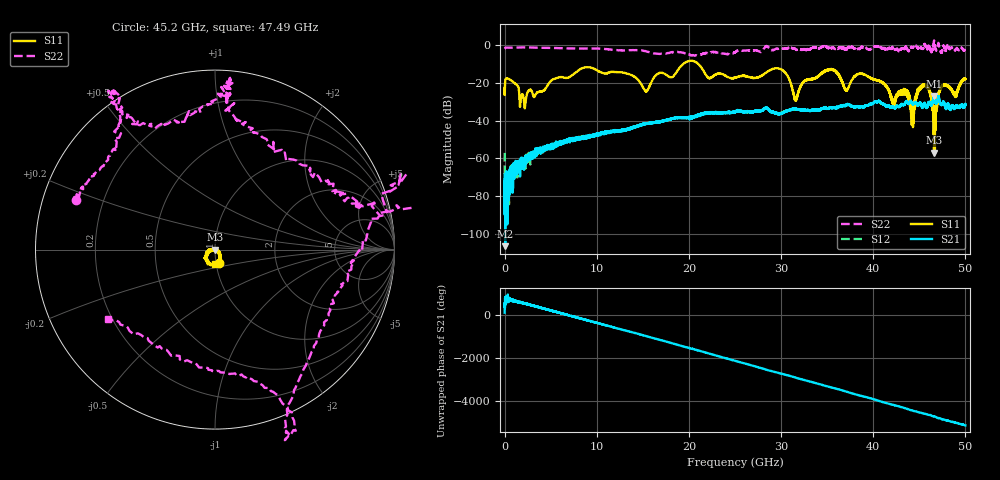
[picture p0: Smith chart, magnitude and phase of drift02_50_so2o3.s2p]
!Created with skrf (http://scikit-rf.org).
# Hz S RI R 50.0
!freq ReS11 ImS11 ReS21 ImS21 ReS12 ImS12 ReS22 ImS22
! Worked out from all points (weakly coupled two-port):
!   10001 points, 300 kHz to 50 GHz, reference 50 ohm
!   highest |S21| = -26.94 dB at 46.59 GHz (marker M1); lowest = -106.4 dB at 65.3 MHz (marker M2)
!   lowest |S11| = -56.9 dB at 46.6 GHz (marker M3), VSWR 1.00, Z = 49.9 - j0.0732 ohm
!   |S11| at or under -10 dB: start of sweep to 19.42 GHz; 21 GHz to end of sweep
!   |S22| runs from -5.7 to 2.3 dB; largest |S21 - S12| = 0.0032
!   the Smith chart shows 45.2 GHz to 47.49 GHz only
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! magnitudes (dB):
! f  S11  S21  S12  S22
! 300 kHz  -22.8  -68.4  -57.1  -2.1
! 65.3 MHz  -19.3  -106.4  -80.3  -1.6
! 255.3 MHz  -17.6  -78.2  -77.9  -1.4
! 2.19 GHz  -33.5  -61.6  -61.2  -1.3
! 8.335 GHz  -12.5  -49.2  -49.2  -1.9
! 15.34 GHz  -24.6  -41.7  -41.7  -3.3
! 16.67 GHz  -15.1  -40.9  -40.9  -4.7
! 20.3 GHz  -8.4  -38.6  -38.4  -5.5
! 25 GHz  -17.4  -35.3  -35.4  -3.9
! 29.84 GHz  -12.6  -36.5  -36.3  -2.0
! 31.59 GHz  -28.8  -33.8  -34.0  -2.4
! 33.34 GHz  -18.1  -34.4  -34.5  -1.6
! 35.62 GHz  -13.2  -33.2  -33.1  -1.5
! 37.1 GHz  -24.2  -31.6  -31.7  -2.2
! 38.75 GHz  -15.2  -32.6  -32.6  -1.0
! 41.67 GHz  -23.7  -32.1  -32.2  -2.0
! 44.27 GHz  -35.2  -31.1  -31.2  -1.5
! 45.69 GHz  -21.8  -32.4  -32.1  -0.7
! 46.59 GHz  -38.4  -26.9  -27.3  1.7
! 46.6 GHz  -56.9  -27.2  -27.0  1.8
! 47.47 GHz  -21.8  -31.3  -31.5  -3.5
! 50 GHz  -18.1  -31.5  -31.4  -2.6
